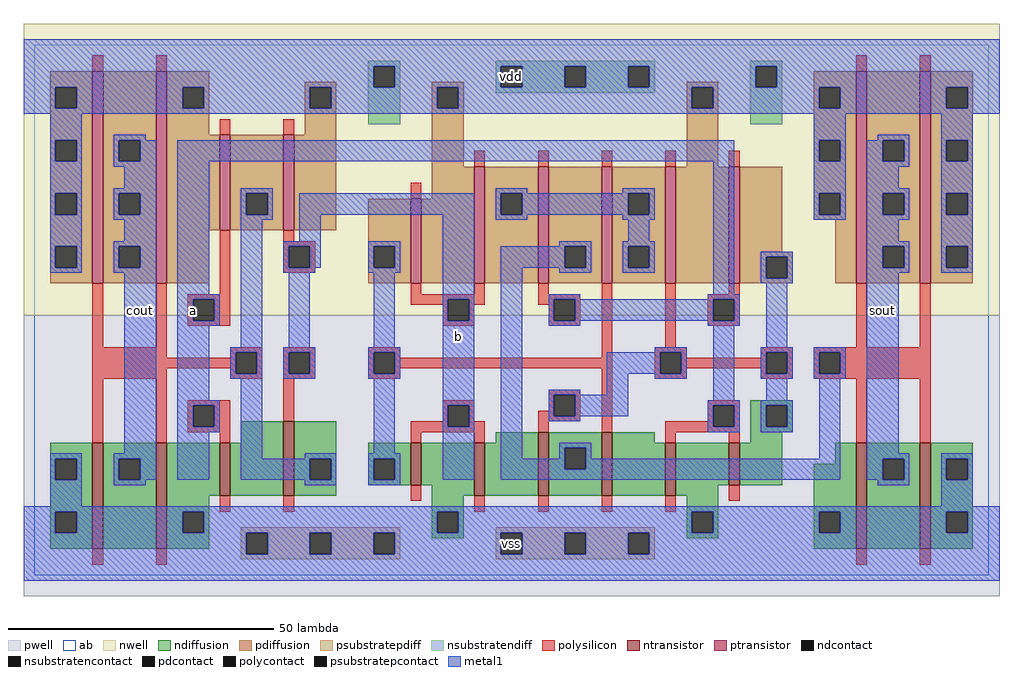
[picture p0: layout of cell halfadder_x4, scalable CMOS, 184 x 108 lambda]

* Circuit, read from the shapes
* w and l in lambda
.subckt halfadder_x4 a b cout sout vdd vss
M1 cout n1 vss vss nfet w=20 l=2 m=2
M2 n2 a vss vss nfet w=10 l=2
M3 n1 b n2 vss nfet w=14 l=2
M4 vss b n3 vss nfet w=8 l=2
M5 n4 b vss vss nfet w=10 l=2
M6 n5 n6 n4 vss nfet w=12 l=2
M7 n7 n3 n5 vss nfet w=12 l=2
M8 vss a n7 vss nfet w=10 l=2
M9 n6 a vss vss nfet w=8 l=2
M10 sout n5 vss vss nfet w=20 l=2 m=2
M11 cout n1 vdd vdd pfet w=40 l=2 m=2
M12 n1 a vdd vdd pfet w=18 l=2
M13 vdd b n1 vdd pfet w=18 l=2
M14 vdd b n3 vdd pfet w=16 l=2
M15 n8 b vdd vdd pfet w=22 l=2
M16 n5 a n8 vdd pfet w=22 l=2
M17 n8 n3 n5 vdd pfet w=22 l=2
M18 vdd n6 n8 vdd pfet w=22 l=2
M19 n6 a vdd vdd pfet w=22 l=2
M20 sout n5 vdd vdd pfet w=40 l=2 m=2
.ends

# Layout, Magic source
magic
tech scmos
<< ab >>
rect 0 0 180 100
<< pwell >>
rect -2 -4 182 49
<< nwell >>
rect -2 49 182 104
<< polysilicon >>
rect 11 95 13 98
rect 23 95 25 98
rect 35 83 37 86
rect 47 83 49 86
rect 83 77 85 80
rect 95 77 97 80
rect 107 77 109 80
rect 119 77 121 80
rect 155 95 157 98
rect 167 95 169 98
rect 131 77 133 80
rect 71 71 73 74
rect 11 43 13 55
rect 23 43 25 55
rect 35 53 37 65
rect 47 63 49 65
rect 47 62 53 63
rect 47 58 48 62
rect 52 58 53 62
rect 47 57 53 58
rect 29 52 37 53
rect 29 48 30 52
rect 34 48 37 52
rect 71 53 73 55
rect 83 53 85 55
rect 71 52 85 53
rect 71 51 78 52
rect 29 47 37 48
rect 77 48 78 51
rect 82 51 85 52
rect 95 53 97 55
rect 95 52 103 53
rect 95 51 98 52
rect 82 48 83 51
rect 77 47 83 48
rect 97 48 98 51
rect 102 48 103 52
rect 97 47 103 48
rect 11 41 25 43
rect 37 42 43 43
rect 37 41 38 42
rect 11 39 38 41
rect 11 37 25 39
rect 37 38 38 39
rect 42 38 43 42
rect 37 37 43 38
rect 47 42 53 43
rect 47 38 48 42
rect 52 38 53 42
rect 47 37 53 38
rect 63 42 69 43
rect 63 38 64 42
rect 68 41 69 42
rect 107 41 109 55
rect 119 43 121 55
rect 131 53 133 55
rect 127 52 133 53
rect 127 48 128 52
rect 132 48 133 52
rect 127 47 133 48
rect 155 43 157 55
rect 167 43 169 55
rect 68 39 109 41
rect 68 38 69 39
rect 63 37 69 38
rect 11 25 13 37
rect 23 25 25 37
rect 29 32 37 33
rect 29 28 30 32
rect 34 28 37 32
rect 47 29 49 37
rect 97 34 103 35
rect 77 32 83 33
rect 77 29 78 32
rect 29 27 37 28
rect 35 25 37 27
rect 71 28 78 29
rect 82 29 83 32
rect 97 31 98 34
rect 95 30 98 31
rect 102 30 103 34
rect 95 29 103 30
rect 82 28 85 29
rect 71 27 85 28
rect 95 27 97 29
rect 107 27 109 39
rect 117 42 123 43
rect 117 38 118 42
rect 122 41 123 42
rect 137 42 143 43
rect 137 41 138 42
rect 122 39 138 41
rect 122 38 123 39
rect 117 37 123 38
rect 137 38 138 39
rect 142 38 143 42
rect 137 37 143 38
rect 147 42 169 43
rect 147 38 148 42
rect 152 38 169 42
rect 147 37 169 38
rect 127 32 133 33
rect 127 29 128 32
rect 119 28 128 29
rect 132 28 133 32
rect 119 27 133 28
rect 71 25 73 27
rect 83 25 85 27
rect 35 12 37 15
rect 47 12 49 15
rect 71 14 73 17
rect 119 25 121 27
rect 131 25 133 27
rect 155 25 157 37
rect 167 25 169 37
rect 83 12 85 15
rect 95 12 97 15
rect 107 12 109 15
rect 119 12 121 15
rect 131 14 133 17
rect 11 2 13 5
rect 23 2 25 5
rect 155 2 157 5
rect 167 2 169 5
<< ndiffusion >>
rect 39 25 47 29
rect 3 22 11 25
rect 3 18 4 22
rect 8 18 11 22
rect 3 12 11 18
rect 3 8 4 12
rect 8 8 11 12
rect 3 5 11 8
rect 13 22 23 25
rect 13 18 16 22
rect 20 18 23 22
rect 13 5 23 18
rect 25 15 35 25
rect 37 15 47 25
rect 49 22 57 29
rect 87 25 95 27
rect 49 18 52 22
rect 56 18 57 22
rect 49 15 57 18
rect 63 22 71 25
rect 63 18 64 22
rect 68 18 71 22
rect 63 17 71 18
rect 73 17 83 25
rect 25 12 33 15
rect 75 15 83 17
rect 85 15 95 25
rect 97 24 107 27
rect 97 20 100 24
rect 104 20 107 24
rect 97 15 107 20
rect 109 25 117 27
rect 135 32 143 33
rect 135 28 138 32
rect 142 28 143 32
rect 135 27 143 28
rect 135 25 141 27
rect 109 15 119 25
rect 121 17 131 25
rect 133 17 141 25
rect 151 21 155 25
rect 121 15 129 17
rect 75 12 81 15
rect 123 12 129 15
rect 25 8 28 12
rect 32 8 33 12
rect 25 5 33 8
rect 75 8 76 12
rect 80 8 81 12
rect 75 7 81 8
rect 123 8 124 12
rect 128 8 129 12
rect 123 7 129 8
rect 147 12 155 21
rect 147 8 148 12
rect 152 8 155 12
rect 147 5 155 8
rect 157 22 167 25
rect 157 18 160 22
rect 164 18 167 22
rect 157 5 167 18
rect 169 22 177 25
rect 169 18 172 22
rect 176 18 177 22
rect 169 12 177 18
rect 169 8 172 12
rect 176 8 177 12
rect 169 5 177 8
<< pdiffusion >>
rect 3 92 11 95
rect 3 88 4 92
rect 8 88 11 92
rect 3 82 11 88
rect 3 78 4 82
rect 8 78 11 82
rect 3 72 11 78
rect 3 68 4 72
rect 8 68 11 72
rect 3 62 11 68
rect 3 58 4 62
rect 8 58 11 62
rect 3 55 11 58
rect 13 82 23 95
rect 13 78 16 82
rect 20 78 23 82
rect 13 72 23 78
rect 13 68 16 72
rect 20 68 23 72
rect 13 62 23 68
rect 13 58 16 62
rect 20 58 23 62
rect 13 55 23 58
rect 25 92 33 95
rect 25 88 28 92
rect 32 88 33 92
rect 25 83 33 88
rect 51 92 57 93
rect 51 88 52 92
rect 56 88 57 92
rect 51 83 57 88
rect 75 92 81 93
rect 75 88 76 92
rect 80 88 81 92
rect 123 92 129 93
rect 25 65 35 83
rect 37 72 47 83
rect 37 68 40 72
rect 44 68 47 72
rect 37 65 47 68
rect 49 65 57 83
rect 75 77 81 88
rect 123 88 124 92
rect 128 88 129 92
rect 123 77 129 88
rect 147 92 155 95
rect 147 88 148 92
rect 152 88 155 92
rect 147 82 155 88
rect 147 78 148 82
rect 152 78 155 82
rect 75 71 83 77
rect 25 55 33 65
rect 63 62 71 71
rect 63 58 64 62
rect 68 58 71 62
rect 63 55 71 58
rect 73 55 83 71
rect 85 72 95 77
rect 85 68 88 72
rect 92 68 95 72
rect 85 55 95 68
rect 97 62 107 77
rect 97 58 100 62
rect 104 58 107 62
rect 97 55 107 58
rect 109 72 119 77
rect 109 68 112 72
rect 116 68 119 72
rect 109 62 119 68
rect 109 58 112 62
rect 116 58 119 62
rect 109 55 119 58
rect 121 55 131 77
rect 133 61 141 77
rect 147 72 155 78
rect 147 68 148 72
rect 152 68 155 72
rect 147 67 155 68
rect 133 60 143 61
rect 133 56 138 60
rect 142 56 143 60
rect 133 55 143 56
rect 151 55 155 67
rect 157 82 167 95
rect 157 78 160 82
rect 164 78 167 82
rect 157 72 167 78
rect 157 68 160 72
rect 164 68 167 72
rect 157 62 167 68
rect 157 58 160 62
rect 164 58 167 62
rect 157 55 167 58
rect 169 92 177 95
rect 169 88 172 92
rect 176 88 177 92
rect 169 82 177 88
rect 169 78 172 82
rect 176 78 177 82
rect 169 72 177 78
rect 169 68 172 72
rect 176 68 177 72
rect 169 62 177 68
rect 169 58 172 62
rect 176 58 177 62
rect 169 55 177 58
<< metal1 >>
rect -2 96 182 101
rect -2 92 64 96
rect 68 92 88 96
rect 92 92 100 96
rect 104 92 112 96
rect 116 92 136 96
rect 140 92 182 96
rect -2 88 4 92
rect 8 88 28 92
rect 32 88 52 92
rect 56 88 76 92
rect 80 88 124 92
rect 128 88 148 92
rect 152 88 172 92
rect 176 88 182 92
rect -2 87 182 88
rect 3 82 9 87
rect 3 78 4 82
rect 8 78 9 82
rect 3 72 9 78
rect 15 82 21 83
rect 147 82 153 87
rect 159 82 165 83
rect 15 78 16 82
rect 20 78 23 82
rect 15 77 23 78
rect 17 73 23 77
rect 3 68 4 72
rect 8 68 9 72
rect 3 62 9 68
rect 15 72 23 73
rect 15 68 16 72
rect 20 68 23 72
rect 15 67 23 68
rect 17 63 23 67
rect 3 58 4 62
rect 8 58 9 62
rect 3 57 9 58
rect 15 62 23 63
rect 15 58 16 62
rect 20 58 23 62
rect 15 57 23 58
rect 17 23 23 57
rect 3 22 9 23
rect 3 18 4 22
rect 8 18 9 22
rect 3 13 9 18
rect 15 22 23 23
rect 15 18 16 22
rect 20 18 23 22
rect 27 78 132 82
rect 27 53 33 78
rect 39 72 45 73
rect 87 72 93 73
rect 111 72 117 73
rect 39 68 40 72
rect 44 68 45 72
rect 39 67 45 68
rect 50 68 83 72
rect 27 52 35 53
rect 27 48 30 52
rect 34 48 35 52
rect 27 47 35 48
rect 27 33 33 47
rect 39 43 43 67
rect 50 63 54 68
rect 47 62 54 63
rect 47 58 48 62
rect 52 58 54 62
rect 63 62 69 63
rect 63 58 64 62
rect 68 58 69 62
rect 47 57 53 58
rect 63 57 69 58
rect 48 43 52 57
rect 64 43 68 57
rect 77 52 83 68
rect 87 68 88 72
rect 92 68 112 72
rect 116 68 117 72
rect 87 67 93 68
rect 111 67 117 68
rect 112 63 116 67
rect 99 62 105 63
rect 77 48 78 52
rect 82 48 83 52
rect 37 42 43 43
rect 37 38 38 42
rect 42 38 43 42
rect 37 37 43 38
rect 47 42 53 43
rect 47 38 48 42
rect 52 38 53 42
rect 47 37 53 38
rect 63 42 69 43
rect 63 38 64 42
rect 68 38 69 42
rect 63 37 69 38
rect 27 32 35 33
rect 27 28 30 32
rect 34 28 35 32
rect 27 27 35 28
rect 27 18 33 27
rect 39 22 43 37
rect 64 23 68 37
rect 77 32 83 48
rect 77 28 78 32
rect 82 28 83 32
rect 51 22 57 23
rect 39 18 52 22
rect 56 18 57 22
rect 15 17 21 18
rect 51 17 57 18
rect 63 22 69 23
rect 63 18 64 22
rect 68 18 69 22
rect 77 18 83 28
rect 88 58 100 62
rect 104 58 105 62
rect 88 22 92 58
rect 99 57 105 58
rect 111 62 117 63
rect 111 58 112 62
rect 116 58 117 62
rect 111 57 117 58
rect 128 53 132 78
rect 147 78 148 82
rect 152 78 153 82
rect 147 72 153 78
rect 147 68 148 72
rect 152 68 153 72
rect 147 67 153 68
rect 157 78 160 82
rect 164 78 165 82
rect 157 77 165 78
rect 171 82 177 87
rect 171 78 172 82
rect 176 78 177 82
rect 157 73 163 77
rect 157 72 165 73
rect 157 68 160 72
rect 164 68 165 72
rect 157 67 165 68
rect 171 72 177 78
rect 171 68 172 72
rect 176 68 177 72
rect 157 63 163 67
rect 157 62 165 63
rect 137 60 143 61
rect 137 56 138 60
rect 142 56 143 60
rect 137 55 143 56
rect 157 58 160 62
rect 164 58 165 62
rect 157 57 165 58
rect 171 62 177 68
rect 171 58 172 62
rect 176 58 177 62
rect 171 57 177 58
rect 97 52 103 53
rect 127 52 133 53
rect 97 48 98 52
rect 102 48 128 52
rect 132 48 133 52
rect 97 47 103 48
rect 127 47 133 48
rect 117 42 123 43
rect 108 38 118 42
rect 122 38 123 42
rect 97 34 103 35
rect 108 34 112 38
rect 117 37 123 38
rect 97 30 98 34
rect 102 30 112 34
rect 128 33 132 47
rect 138 43 142 55
rect 137 42 143 43
rect 137 38 138 42
rect 142 38 143 42
rect 137 37 143 38
rect 147 42 153 43
rect 147 38 148 42
rect 152 38 153 42
rect 147 37 153 38
rect 138 33 142 37
rect 127 32 133 33
rect 97 29 103 30
rect 127 28 128 32
rect 132 28 133 32
rect 127 27 133 28
rect 137 32 143 33
rect 137 28 138 32
rect 142 28 143 32
rect 137 27 143 28
rect 99 24 105 25
rect 99 22 100 24
rect 88 20 100 22
rect 104 22 105 24
rect 148 22 152 37
rect 104 20 152 22
rect 88 18 152 20
rect 157 23 163 57
rect 157 22 165 23
rect 157 18 160 22
rect 164 18 165 22
rect 63 17 69 18
rect 159 17 165 18
rect 171 22 177 23
rect 171 18 172 22
rect 176 18 177 22
rect 171 13 177 18
rect -2 12 182 13
rect -2 8 4 12
rect 8 8 28 12
rect 32 8 76 12
rect 80 8 124 12
rect 128 8 148 12
rect 152 8 172 12
rect 176 8 182 12
rect -2 4 40 8
rect 44 4 52 8
rect 56 4 64 8
rect 68 4 88 8
rect 92 4 100 8
rect 104 4 112 8
rect 116 4 182 8
rect -2 -1 182 4
<< ntransistor >>
rect 11 5 13 25
rect 23 5 25 25
rect 35 15 37 25
rect 47 15 49 29
rect 71 17 73 25
rect 83 15 85 25
rect 95 15 97 27
rect 107 15 109 27
rect 119 15 121 25
rect 131 17 133 25
rect 155 5 157 25
rect 167 5 169 25
<< ptransistor >>
rect 11 55 13 95
rect 23 55 25 95
rect 35 65 37 83
rect 47 65 49 83
rect 71 55 73 71
rect 83 55 85 77
rect 95 55 97 77
rect 107 55 109 77
rect 119 55 121 77
rect 131 55 133 77
rect 155 55 157 95
rect 167 55 169 95
<< polycontact >>
rect 48 58 52 62
rect 30 48 34 52
rect 78 48 82 52
rect 98 48 102 52
rect 38 38 42 42
rect 48 38 52 42
rect 64 38 68 42
rect 128 48 132 52
rect 30 28 34 32
rect 78 28 82 32
rect 98 30 102 34
rect 118 38 122 42
rect 138 38 142 42
rect 148 38 152 42
rect 128 28 132 32
<< ndcontact >>
rect 4 18 8 22
rect 4 8 8 12
rect 16 18 20 22
rect 52 18 56 22
rect 64 18 68 22
rect 100 20 104 24
rect 138 28 142 32
rect 28 8 32 12
rect 76 8 80 12
rect 124 8 128 12
rect 148 8 152 12
rect 160 18 164 22
rect 172 18 176 22
rect 172 8 176 12
<< pdcontact >>
rect 4 88 8 92
rect 4 78 8 82
rect 4 68 8 72
rect 4 58 8 62
rect 16 78 20 82
rect 16 68 20 72
rect 16 58 20 62
rect 28 88 32 92
rect 52 88 56 92
rect 76 88 80 92
rect 40 68 44 72
rect 124 88 128 92
rect 148 88 152 92
rect 148 78 152 82
rect 64 58 68 62
rect 88 68 92 72
rect 100 58 104 62
rect 112 68 116 72
rect 112 58 116 62
rect 148 68 152 72
rect 138 56 142 60
rect 160 78 164 82
rect 160 68 164 72
rect 160 58 164 62
rect 172 88 176 92
rect 172 78 176 82
rect 172 68 176 72
rect 172 58 176 62
<< psubstratepcontact >>
rect 40 4 44 8
rect 52 4 56 8
rect 64 4 68 8
rect 88 4 92 8
rect 100 4 104 8
rect 112 4 116 8
<< nsubstratencontact >>
rect 64 92 68 96
rect 88 92 92 96
rect 100 92 104 96
rect 112 92 116 96
rect 136 92 140 96
<< psubstratepdiff >>
rect 39 8 69 9
rect 39 4 40 8
rect 44 4 52 8
rect 56 4 64 8
rect 68 4 69 8
rect 87 8 117 9
rect 39 3 69 4
rect 87 4 88 8
rect 92 4 100 8
rect 104 4 112 8
rect 116 4 117 8
rect 87 3 117 4
<< nsubstratendiff >>
rect 63 96 69 97
rect 63 92 64 96
rect 68 92 69 96
rect 87 96 117 97
rect 63 85 69 92
rect 87 92 88 96
rect 92 92 100 96
rect 104 92 112 96
rect 116 92 117 96
rect 135 96 141 97
rect 87 91 117 92
rect 135 92 136 96
rect 140 92 141 96
rect 135 85 141 92
<< labels >>
rlabel metal1 30 50 30 50 6 a
rlabel metal1 20 50 20 50 6 cout
rlabel metal1 30 50 30 50 6 a
rlabel metal1 20 50 20 50 6 cout
rlabel psubstratepcontact 90 6 90 6 6 vss
rlabel psubstratepcontact 90 6 90 6 6 vss
rlabel metal1 80 45 80 45 6 b
rlabel metal1 80 45 80 45 6 b
rlabel nsubstratencontact 90 94 90 94 6 vdd
rlabel nsubstratencontact 90 94 90 94 6 vdd
rlabel metal1 160 50 160 50 6 sout
rlabel metal1 160 50 160 50 6 sout
<< end >>
